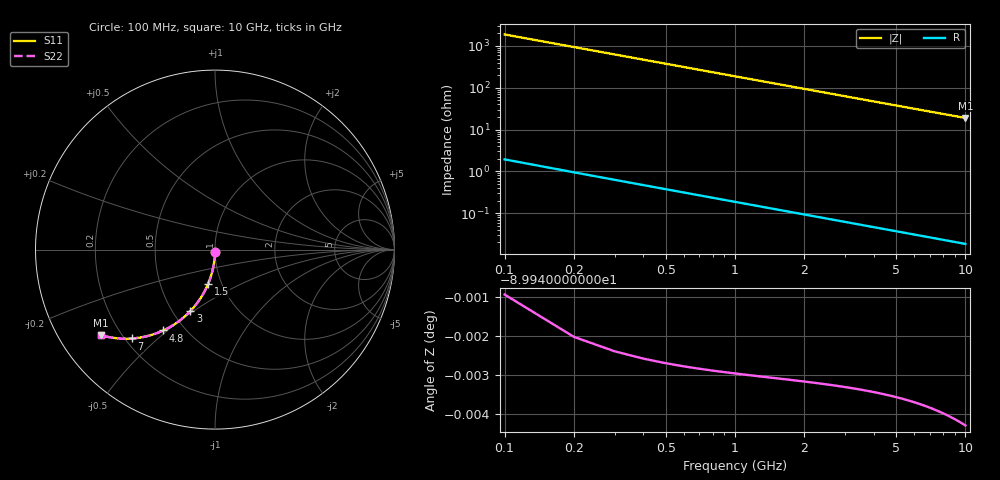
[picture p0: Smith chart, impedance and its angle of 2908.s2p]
# Hz S RI R 50.00
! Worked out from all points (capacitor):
!   100 points, 100 MHz to 10 GHz, reference 50 ohm
!   read as one part in shunt: C = 846 fF near 100 MHz
!   lowest |Z| = 19 ohm at 10 GHz (marker M1)
!   S11 on the Smith chart (normalised r, x): 100 MHz: 1.00, -0.03; 1.5 GHz: 0.86, -0.34; 3 GHz: 0.61, -0.49; 4.8 GHz: 0.38, -0.48; 7 GHz: 0.23, -0.42; 10 GHz: 0.13, -0.33
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1e8  -0.000172 -0.0132  0.9998 -0.0133  0.9998 -0.0133  -0.000172 -0.0132
2e8  -0.000714 -0.0265  0.9992 -0.0266  0.9992 -0.0266  -0.000714 -0.0265
3e8  -0.00161 -0.0397  0.9984 -0.0399  0.9984 -0.0399  -0.00161 -0.0397
4e8  -0.00285 -0.0528  0.9971 -0.0532  0.9971 -0.0532  -0.00285 -0.0528
5e8  -0.00444 -0.0659  0.9955 -0.0663  0.9955 -0.0663  -0.00444 -0.0659
6e8  -0.00638 -0.079  0.9936 -0.0795  0.9936 -0.0795  -0.00638 -0.079
7e8  -0.00865 -0.0919  0.9913 -0.0925  0.9913 -0.0925  -0.00865 -0.0919
9e8  -0.0142 -0.1175  0.9858 -0.1182  0.9858 -0.1182  -0.0142 -0.1175
1.2e9  -0.0249 -0.1549  0.975 -0.1559  0.975 -0.1559  -0.0249 -0.1549
1.5e9  -0.0383 -0.191  0.9616 -0.1922  0.9616 -0.1922  -0.0383 -0.191
1.8e9  -0.0542 -0.2253  0.9457 -0.2268  0.9457 -0.2268  -0.0542 -0.2253
2.4e9  -0.0924 -0.2882  0.9076 -0.2901  0.9076 -0.2901  -0.0924 -0.2882
3e9  -0.1371 -0.3423  0.8629 -0.3447  0.8629 -0.3447  -0.1371 -0.3423
3.4e9  -0.1694 -0.3732  0.8306 -0.376  0.8306 -0.376  -0.1694 -0.3732
4.1e9  -0.2285 -0.4177  0.7715 -0.421  0.7715 -0.421  -0.2285 -0.4177
4.8e9  -0.2885 -0.4506  0.7115 -0.4545  0.7115 -0.4545  -0.2885 -0.4506
5.1e9  -0.3139 -0.4615  0.6861 -0.4657  0.6861 -0.4657  -0.3139 -0.4615
5.9e9  -0.3795 -0.4824  0.6205 -0.4872  0.6205 -0.4872  -0.3795 -0.4824
6.7e9  -0.4406 -0.4932  0.5593 -0.4987  0.5593 -0.4987  -0.4406 -0.4932
7e9  -0.4622 -0.4952  0.5377 -0.5009  0.5377 -0.5009  -0.4622 -0.4952
8.4e9  -0.5527 -0.4933  0.4472 -0.5002  0.4472 -0.5002  -0.5527 -0.4933
1e10  -0.6361 -0.4765  0.3638 -0.4847  0.3638 -0.4847  -0.6361 -0.4765
